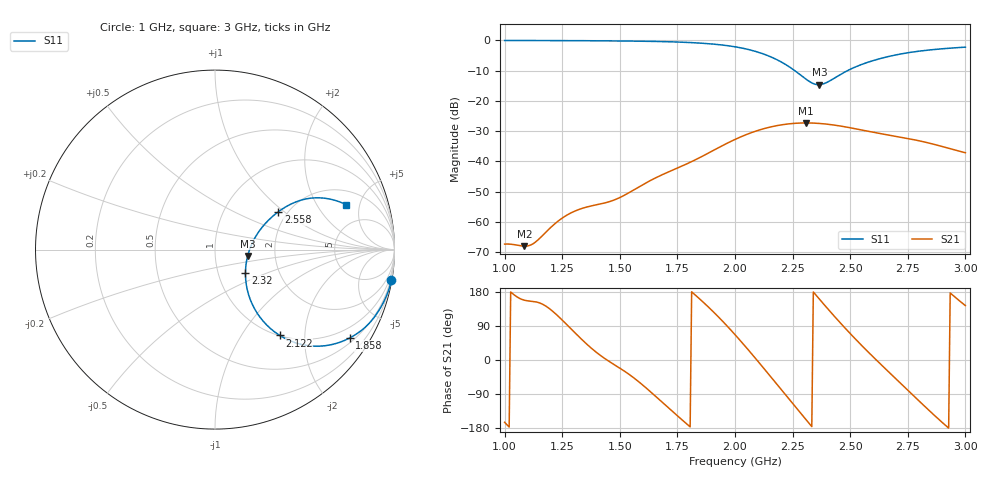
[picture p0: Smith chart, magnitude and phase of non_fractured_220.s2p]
! TOUCHSTONE file generated by CST MICROWAVE STUDIO
! Date and time: Sat Mar  8 13:55:35 2025
! Project name: non_fractured.cst
! Parameters = {B=2.5; D=160; F=20; Feed=2.85625; L=100; M=20; R=0.384908; S=2; Theta=270; length=57.125; wave=114.25}
! Header version: 2024
! Port assignment regex: !\s*Touchstone port\s*([0-9]+)\s*=\s*(CST MWS port|CST DES external port|CST DES block port)\s*(.+)\s* \(\"(.*)\"\)(\s*mode\s*([0-9]+))?.*
! Touchstone port assignment:
! Touchstone port 1 = CST MWS port 1 ("")
! Touchstone port 2 = CST MWS port 2 ("")
# GHz S DB R 50
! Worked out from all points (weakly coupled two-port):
!   304 points, 1 GHz to 3 GHz, reference 50 ohm
!   highest |S21| = -27.29 dB at 2.307 GHz (marker M1); lowest = -68.0 dB at 1.086 GHz (marker M2)
!   lowest |S11| = -14.6 dB at 2.366 GHz (marker M3), VSWR 1.45, Z = 72 - j5.4 ohm
!   |S11| at or under -10 dB: 2.259 GHz to 2.488 GHz (228.7 MHz wide, 9.63 % of centre)
!   S12 and S22 are empty: the file has one direction only
!   S11 on the Smith chart (normalised r, x): 1 GHz: 0, -12; 1.858 GHz: 0.64, -3.23; 2.122 GHz: 1.01, -1.50; 2.32 GHz: 1.35, -0.36; 2.558 GHz: 1.79, +0.91; 3 GHz: 3.00, +3.72
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1  -0.02 -9.8  -67.35 -164.4  -200.00 0.0  -200.00 0.0
1.08581  -0.03 -10.9  -68.03 157.8  -200.00 0.0  -200.00 0.0
1.13201  -0.04 -11.6  -66.79 153.9  -200.00 0.0  -200.00 0.0
1.21122  -0.05 -12.9  -61.08 127.3  -200.00 0.0  -200.00 0.0
1.25743  -0.07 -13.7  -58.38 100.9  -200.00 0.0  -200.00 0.0
1.33663  -0.09 -15.2  -55.53 53.2  -200.00 0.0  -200.00 0.0
1.48185  -0.17 -18.4  -52.58 -14.5  -200.00 0.0  -200.00 0.0
1.66667  -0.36 -24.1  -45.03 -102.0  -200.00 0.0  -200.00 0.0
1.85809  -0.94 -33.3  -38.31 154.8  -200.00 0.0  -200.00 0.0
2.0033  -2.16 -43.6  -32.63 64.7  -200.00 0.0  -200.00 0.0
2.12211  -4.45 -53.0  -29.25 -19.9  -200.00 0.0  -200.00 0.0
2.21452  -7.73 -56.4  -27.77 -88.3  -200.00 0.0  -200.00 0.0
2.30693  -12.75 -42.4  -27.29 -156.5  -200.00 0.0  -200.00 0.0
2.32013  -13.45 -37.0  -27.30 -166.1  -200.00 0.0  -200.00 0.0
2.33993  -14.28 -26.9  -27.34 179.6  -200.00 0.0  -200.00 0.0
2.36634  -14.65 -11.3  -27.46 160.6  -200.00 0.0  -200.00 0.0
2.39934  -13.87 6.4  -27.69 137.4  -200.00 0.0  -200.00 0.0
2.45875  -11.21 23.7  -28.33 96.8  -200.00 0.0  -200.00 0.0
2.55776  -7.73 30.8  -29.74 33.5  -200.00 0.0  -200.00 0.0
2.66997  -5.26 30.1  -31.34 -33.2  -200.00 0.0  -200.00 0.0
2.80858  -3.47 25.3  -33.35 -113.7  -200.00 0.0  -200.00 0.0
3  -2.24 18.8  -37.15 143.5  -200.00 0.0  -200.00 0.0
